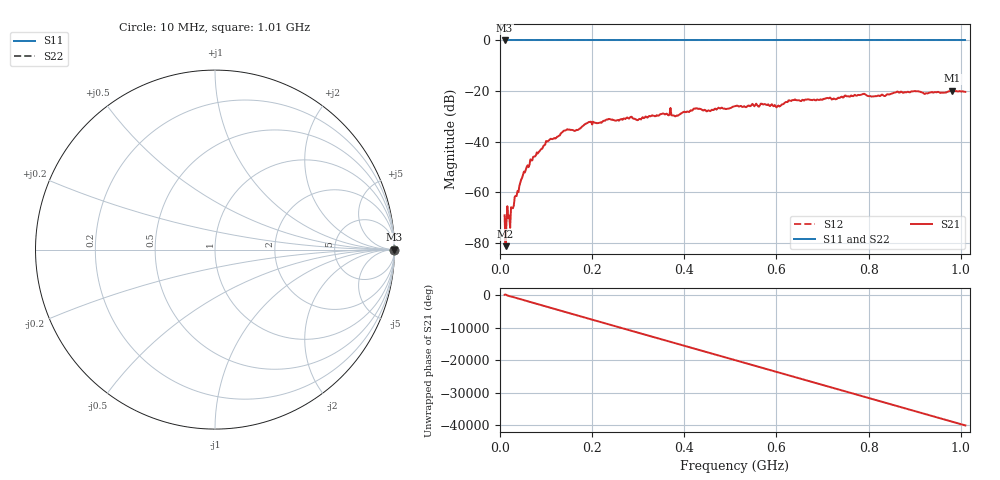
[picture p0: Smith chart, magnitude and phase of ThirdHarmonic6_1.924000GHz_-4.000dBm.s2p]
! 8/16/2025 11:11:37 PM
! C:\ANRITSUVNA\TEMP\TEMP.S2P
! CHANNEL.1
! TR.MEASUREMENT
! RAW.DATA
! RF.CORRECTION.OFF
! AVERAGING.OFF
! IF.BANDWIDTH: 5KHZ
! SWEEPTYPE:  FREQ.SWEEP(Linear)
! Reference Plane Port Info
! PORT:  PORT1  PORT2
! DISTANCE:  0  m  0  m
! TIME:  0  s  0  s
! PHASE.OFFSET:  0  deg.  0  deg.
! LOSS:  0  dB  0  dB
! REF.LOSS:  0  dB  0  dB
! REF.FREQ:  0  Hz  0  Hz
! Power Info
! POWER:  -20  dBm  -20  dBm
! EFF.POWER:  -20  dBm  -20  dBm
! SOURCE.ATTEN:  0  dB  0  dB
! TEST.ATTEN:  0  dB  0  dB
# GHZ S RI R 50.0
! FREQ.GHZ  S11RE  S11IM  S21RE  S21IM  S12RE  S12IM  S22RE  S22IM
!; PortSelection: Port_12
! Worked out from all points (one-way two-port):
!   501 points, 10 MHz to 1.01 GHz, reference 50 ohm
!   highest |S21| = -19.83 dB at 982 MHz (marker M1); lowest = -81.2 dB at 12 MHz (marker M2)
!   lowest |S11| = 0.0 dB at 10 MHz (marker M3)
!   |S11| at or under -10 dB: nowhere
!   |S22| runs from 0.0 to 0.0 dB; largest |S21 - S12| = 1.1
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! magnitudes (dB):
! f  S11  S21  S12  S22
! 10 MHz  0.0  -69.0  0.0  0.0
! 12 MHz  0.0  -81.2  0.0  0.0
! 16 MHz  0.0  -65.4  0.0  0.0
! 26 MHz  0.0  -66.2  0.0  0.0
! 28 MHz  0.0  -66.2  0.0  0.0
! 48 MHz  0.0  -54.2  0.0  0.0
! 70 MHz  0.0  -47.4  0.0  0.0
! 104 MHz  0.0  -39.8  0.0  0.0
! 142 MHz  0.0  -35.5  0.0  0.0
! 178 MHz  0.0  -34.0  0.0  0.0
! 194 MHz  0.0  -32.2  0.0  0.0
! 344 MHz  0.0  -29.7  0.0  0.0
! 384 MHz  0.0  -29.6  0.0  0.0
! 424 MHz  0.0  -26.9  0.0  0.0
! 452 MHz  0.0  -27.6  0.0  0.0
! 510 MHz  0.0  -26.0  0.0  0.0
! 604 MHz  0.0  -25.7  0.0  0.0
! 630 MHz  0.0  -23.8  0.0  0.0
! 678 MHz  0.0  -23.6  0.0  0.0
! 844 MHz  0.0  -21.3  0.0  0.0
! 982 MHz  0.0  -19.8  0.0  0.0
! 1.01 GHz  0.0  -20.3  0.0  0.0
